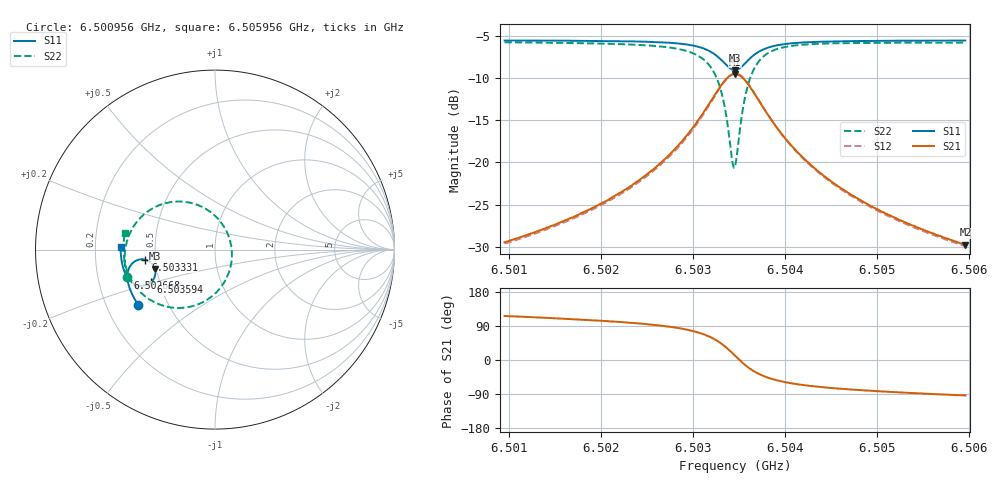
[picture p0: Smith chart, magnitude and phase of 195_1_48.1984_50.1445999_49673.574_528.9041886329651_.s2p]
#  HZ  S  RI  R  50.00
! Rohde & Schwarz Vector Network Analyzer
! Rohde-Schwarz,ZNB20-2Port,1311601062101988,3.16
! Created: UTC 3/20/2024, 11:44:47 AM
! freq[Hz]  re:S11  im:S11  re:S21  im:S21  re:S12  im:S12  re:S22  im:S22
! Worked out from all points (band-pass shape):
!   401 points, 6.500956 GHz to 6.505956 GHz, reference 50 ohm
!   highest |S21| = -9.54 dB at 6.503456 GHz (marker M1); lowest = -29.7 dB at 6.505956 GHz (marker M2)
!   |S21| within 3 dB of the highest: 6.503206 GHz to 6.503706 GHz (499.8 kHz wide, 0.00769 % of centre)
!   lowest |S11| = -9.1 dB at 6.503456 GHz (marker M3), VSWR 2.08, Z = 24.4 - j5.9 ohm
!   |S11| at or under -10 dB: nowhere
!   |S22| runs from -20.6 to -5.8 dB; largest |S21 - S12| = 0.012
!   S11 on the Smith chart (normalised r, x): 6.500956 GHz: 0.34, -0.29; 6.502668 GHz: 0.33, -0.14; 6.503331 GHz: 0.44, -0.06; 6.503594 GHz: 0.45, -0.19; 6.505956 GHz: 0.31, +0.01
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6.5009558e9  -0.4265 -0.3087  -0.0149 0.0303  -0.0132 0.0304  -0.49 -0.1536
6.5017934e9  -0.4625 -0.2469  -0.0141 0.0483  -0.0118 0.0477  -0.5032 -0.0644
6.5022434e9  -0.4783 -0.2069  -0.0113 0.0669  -0.00835 0.0659  -0.5001 -0.000484
6.502631e9  -0.4875 -0.1641  -0.00217 0.0973  0.00144 0.095  -0.4801 0.0772
6.5026685e9  -0.4878 -0.1591  -0.000415 0.1016  0.00343 0.099  -0.4761 0.0865
6.5029435e9  -0.4837 -0.1162  0.0267 0.1444  0.0305 0.1399  -0.42 0.1728
6.503131e9  -0.462 -0.078  0.0814 0.1868  0.0839 0.1805  -0.3149 0.2456
6.5032435e9  -0.429 -0.0572  0.1515 0.2043  0.1522 0.198  -0.1888 0.2678
6.503331e9  -0.3881 -0.0558  0.2321 0.1876  0.2323 0.1825  -0.0499 0.2261
6.5034185e9  -0.3457 -0.0842  0.3093 0.1142  0.3117 0.1095  0.0735 0.0814
6.5034435e9  -0.3379 -0.0981  0.3226 0.083  0.3257 0.0775  0.0901 0.0224
6.503456e9  -0.3351 -0.1059  0.327 0.0663  0.3302 0.0603  0.0938 -0.00871
6.503481e9  -0.3321 -0.1218  0.3303 0.032  0.3338 0.025  0.0914 -0.0711
6.5035435e9  -0.3396 -0.1595  0.3114 -0.0469  0.3135 -0.0569  0.0339 -0.208
6.5035935e9  -0.3562 -0.1817  0.2774 -0.0928  0.2769 -0.104  -0.0439 -0.2793
6.503706e9  -0.4012 -0.2013  0.1918 -0.1375  0.1863 -0.1471  -0.217 -0.325
6.5038686e9  -0.4477 -0.1916  0.1093 -0.1339  0.1021 -0.139  -0.3658 -0.2773
6.5040436e9  -0.4753 -0.1702  0.0643 -0.1134  0.058 -0.1157  -0.4382 -0.2114
6.5042936e9  -0.4961 -0.1401  0.0341 -0.0888  0.0293 -0.0893  -0.4818 -0.1387
6.5046811e9  -0.512 -0.0997  0.0146 -0.0646  0.0113 -0.0643  -0.5047 -0.0614
6.5051311e9  -0.521 -0.058  0.00509 -0.0486  0.00281 -0.0477  -0.5103 0.00238
6.5059562e9  -0.5259 0.012  -0.00198 -0.0325  -0.00352 -0.0318  -0.5026 0.0902
